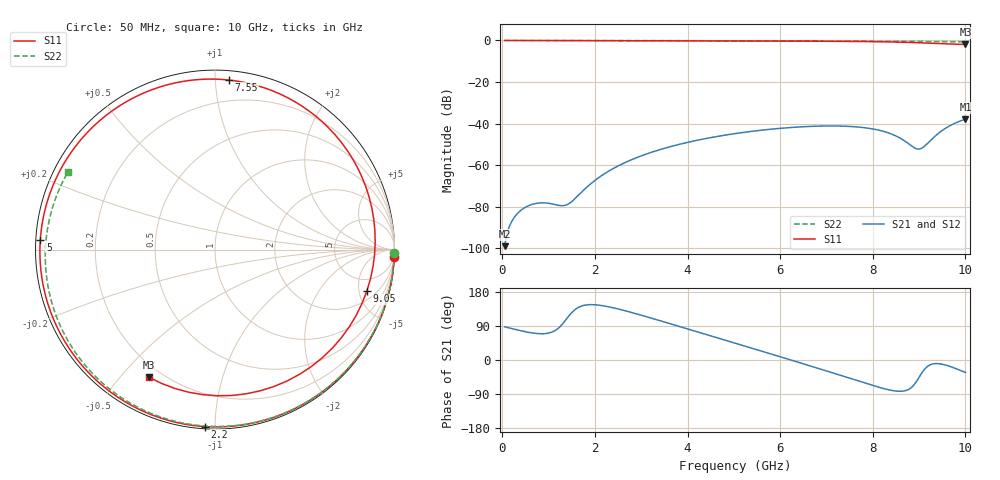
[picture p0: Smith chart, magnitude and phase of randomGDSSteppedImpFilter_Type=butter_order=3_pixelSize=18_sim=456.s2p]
! freq	dB(S11)	phase(S11)	dB(S12)	phase(S12)
!  dB(S21)	phase(S21)	dB(S22)	phase(S22)
!S-par simulation data
#  GHz  S  DB  R 50
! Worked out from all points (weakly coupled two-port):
!   200 points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, 50 MHz to 10 GHz, reference 50 ohm
!   highest |S21| = -37.87 dB at 10 GHz (marker M1); lowest = -98.9 dB at 50 MHz (marker M2)
!   lowest |S11| = -1.9 dB at 10 GHz (marker M3), VSWR 9.04, Z = 7.55 - j30 ohm
!   |S11| at or under -10 dB: nowhere
!   |S22| runs from -0.7 to 0.0 dB; largest |S21 - S12| = 0
!   S11 on the Smith chart (normalised r, x): 50 MHz: 1, -49; 2.2 GHz: 0.01, -0.94; 5 GHz: 0.01, +0.03; 7.55 GHz: 0.06, +1.08; 9.05 GHz: 2.97, -5.97; 10 GHz: 0.15, -0.60
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0.05  -0.01 -2.3  -98.88 87.5  -98.88 87.5  -0.00 -1.1
0.65  -0.03 -29.7  -78.76 71.3  -78.76 71.3  -0.02 -14.6
1.35  -0.07 -60.0  -79.30 102.5  -79.30 102.5  -0.04 -30.0
1.75  -0.09 -76.1  -72.08 143.8  -72.08 143.8  -0.05 -38.7
2.2  -0.11 -93.3  -64.15 142.6  -64.15 142.6  -0.06 -48.3
2.75  -0.13 -112.9  -57.72 126.8  -57.72 126.8  -0.08 -59.9
3.4  -0.15 -134.4  -52.50 103.9  -52.50 103.9  -0.10 -73.3
4.2  -0.18 -159.2  -48.02 74.7  -48.02 74.7  -0.13 -89.2
5  -0.22 176.7  -44.86 45.4  -44.86 45.4  -0.16 -104.8
5.05  -0.22 175.2  -44.70 43.6  -44.70 43.6  -0.16 -105.7
5.9  -0.28 148.6  -42.45 12.3  -42.45 12.3  -0.21 -122.0
6.7  -0.35 120.9  -41.27 -17.5  -41.27 -17.5  -0.27 -137.2
7.55  -0.46 85.2  -41.39 -50.1  -41.39 -50.1  -0.35 -153.8
7.95  -0.55 64.7  -42.34 -65.4  -42.34 -65.4  -0.39 -161.8
8.35  -0.69 40.3  -44.51 -78.8  -44.51 -78.8  -0.43 -170.0
8.75  -0.91 10.8  -49.27 -79.0  -49.27 -79.0  -0.48 -178.6
8.95  -1.06 -6.2  -52.11 -55.6  -52.11 -55.6  -0.51 177.1
9.05  -1.14 -15.3  -51.89 -35.8  -51.89 -35.8  -0.52 174.8
9.3  -1.37 -40.0  -46.91 -10.3  -46.91 -10.3  -0.56 169.1
9.55  -1.61 -66.8  -42.50 -12.6  -42.50 -12.6  -0.60 163.3
9.75  -1.78 -89.2  -40.03 -20.6  -40.03 -20.6  -0.63 158.4
10  -1.93 -117.3  -37.87 -32.9  -37.87 -32.9  -0.66 152.2
